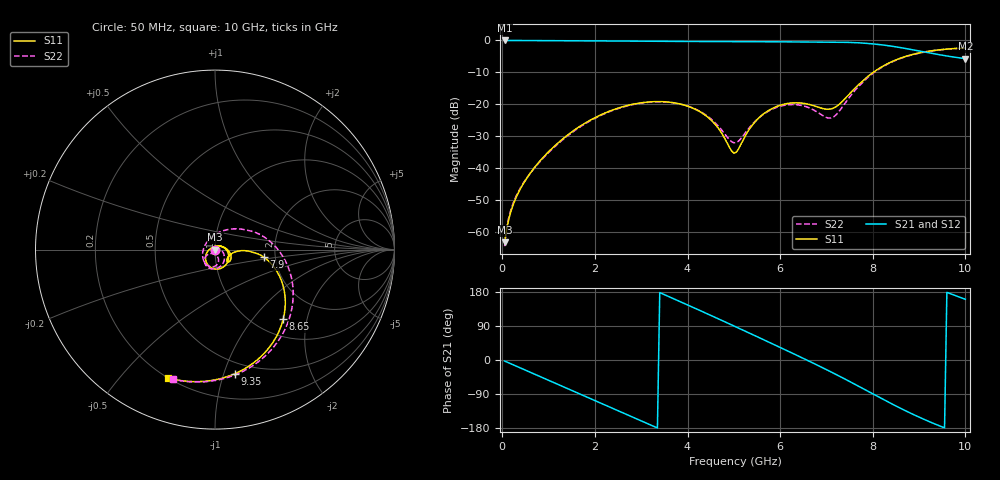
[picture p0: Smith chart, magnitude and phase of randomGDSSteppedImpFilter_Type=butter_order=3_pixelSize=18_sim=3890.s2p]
! freq	dB(S11)	phase(S11)	dB(S12)	phase(S12)
!  dB(S21)	phase(S21)	dB(S22)	phase(S22)
!S-par simulation data
#  GHz  S  DB  R 50
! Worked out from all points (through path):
!   200 points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, 50 MHz to 10 GHz, reference 50 ohm
!   highest |S21| = -0.01 dB at 50 MHz (marker M1); lowest = -5.7 dB at 10 GHz (marker M2)
!   group delay of S21, straight-line fit = 158 ps
!   lowest |S11| = -63.3 dB at 50 MHz (marker M3), VSWR 1.00, Z = 50 + j0.0477 ohm
!   |S11| at or under -10 dB: start of sweep to 8.01 GHz
!   |S22| runs from -64.6 to -2.4 dB; largest |S21 - S12| = 0
!   S11 on the Smith chart (normalised r, x): 50 MHz: 1.00, +0.00; 7.9 GHz: 1.74, -0.16; 8.65 GHz: 1.32, -1.45; 9.35 GHz: 0.40, -1.09; 10 GHz: 0.20, -0.68
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0.05  -63.30 44.2  -0.01 -2.7  -0.01 -2.7  -64.57 53.9
0.15  -55.50 70.7  -0.02 -8.1  -0.02 -8.1  -54.91 59.0
0.45  -45.06 75.6  -0.03 -24.0  -0.03 -24.0  -44.88 50.0
1.15  -32.86 49.2  -0.07 -61.3  -0.07 -61.3  -33.12 11.5
1.75  -26.28 15.6  -0.12 -93.4  -0.12 -93.4  -26.50 -19.1
2.2  -22.88 -10.6  -0.15 -117.5  -0.15 -117.5  -23.05 -41.5
2.65  -20.61 -36.7  -0.20 -141.7  -0.20 -141.7  -20.73 -63.9
3.4  -19.19 -80.1  -0.28 177.9  -0.28 177.9  -19.26 -100.5
3.85  -19.98 -106.7  -0.30 153.6  -0.30 153.6  -19.99 -121.5
4.35  -23.12 -139.1  -0.32 126.2  -0.32 126.2  -22.96 -141.1
5.05  -35.11 92.3  -0.34 87.1  -0.34 87.1  -32.08 -101.1
5.4  -26.56 18.9  -0.36 67.4  -0.36 67.4  -26.29 -69.5
5.75  -21.99 -7.9  -0.40 47.5  -0.40 47.5  -22.17 -77.8
6.25  -19.62 -33.7  -0.45 18.8  -0.45 18.8  -20.13 -105.3
6.7  -20.38 -44.2  -0.48 -7.4  -0.48 -7.4  -21.65 -144.0
7.15  -21.25 -21.3  -0.52 -34.6  -0.52 -34.6  -24.03 127.6
7.55  -15.96 -2.1  -0.65 -59.9  -0.65 -59.9  -16.83 52.6
7.9  -11.22 -8.7  -0.96 -82.7  -0.96 -82.7  -11.52 18.3
8.35  -7.07 -29.9  -1.68 -111.9  -1.68 -111.9  -7.20 -16.8
8.65  -5.30 -45.7  -2.37 -130.5  -2.37 -130.5  -5.38 -37.2
9.35  -3.09 -80.9  -4.26 -169.3  -4.26 -169.3  -3.13 -77.5
10  -2.38 -110.1  -5.71 160.3  -5.71 160.3  -2.39 -108.0
